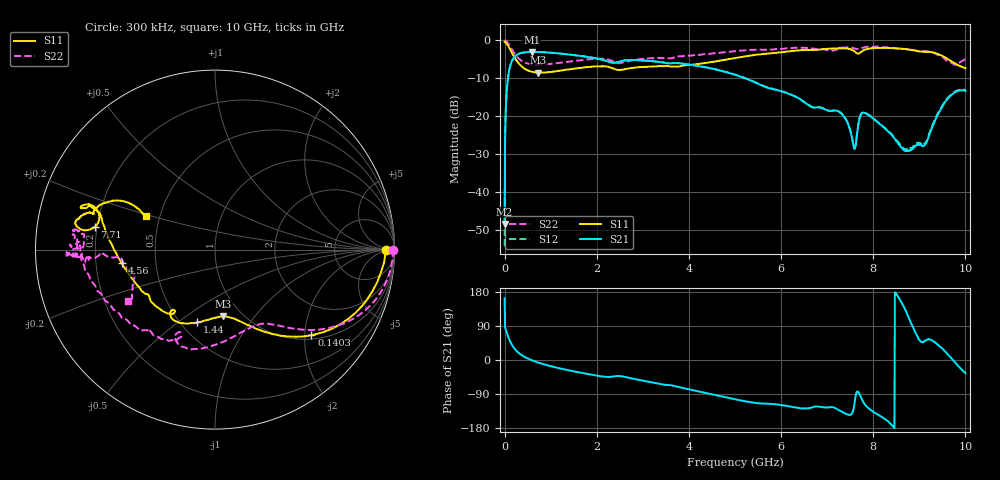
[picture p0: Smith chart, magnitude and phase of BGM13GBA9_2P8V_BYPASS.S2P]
!Agilent Technologies,E5071C,MY46316587,B.13.01
!Date: Wed Dec 06 12:11:16 2017
!Data & Calibration Information:
!Freq	S11:SOLT2(ON)	S21:SOLT2(ON)	S12:SOLT2(ON)	S22:SOLT2(ON)
!PortZ  Port1:50+j0  Port2:50+j0
!Above PortZ is port z conversion or system Z0 setting when saving the data.
!When reading, reference impedance value at option line is always used.
# Hz S RI R 50
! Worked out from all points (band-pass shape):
!   1001 points, 300 kHz to 10 GHz, reference 50 ohm
!   highest |S21| = -3.06 dB at 590.3 MHz (marker M1); lowest = -48.3 dB at 300 kHz (marker M2)
!   |S21| within 3 dB of the highest: 139.5 MHz to 3.53 GHz (3.39 GHz wide, 185 % of centre); 3.615 GHz to 3.798 GHz (183.8 MHz wide, 4.96 % of centre)
!   lowest |S11| = -8.6 dB at 730.3 MHz (marker M3), VSWR 2.19, Z = 41.1 - j35.4 ohm
!   |S11| at or under -10 dB: nowhere
!   |S22| runs from -6.5 to -0.1 dB; largest |S21 - S12| = 0.0067
!   S11 on the Smith chart (normalised r, x): 300 kHz: 40, -1; 140.3 MHz: 1.10, -2.16; 1.44 GHz: 0.60, -0.59; 4.56 GHz: 0.31, -0.07; 7.71 GHz: 0.19, +0.09; 10 GHz: 0.42, +0.19
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300000  0.9517 -0.000636  -0.00367 0.00114  0.000547 0.00188  0.9938 -0.000399
6.02982e7  0.8166 -0.3174  0.1048 0.2476  0.1045 0.2491  0.8954 -0.2776
1.402958e8  0.5373 -0.4763  0.3585 0.3479  0.3588 0.3489  0.6546 -0.4313
3.102907e8  0.2237 -0.4382  0.6304 0.208  0.6305 0.2091  0.3789 -0.429
5.902823e8  0.0804 -0.3774  0.7033 -0.00918  0.7044 -0.00924  0.2409 -0.418
7.302781e8  0.0464 -0.3703  0.6947 -0.0845  0.6963 -0.0847  0.2005 -0.433
1.440257e9  -0.098 -0.4055  0.567 -0.3077  0.5682 -0.3085  0.0121 -0.5274
1.67025e9  -0.1409 -0.4109  0.5146 -0.3473  0.5152 -0.3482  -0.0488 -0.5453
3.3402e9  -0.3274 -0.3163  0.241 -0.4611  0.2407 -0.4618  -0.339 -0.4789
4.560163e9  -0.5188 -0.0768  -0.0148 -0.4159  -0.0145 -0.417  -0.6158 -0.2793
5.00015e9  -0.5829 0.0421  -0.0827 -0.3432  -0.0835 -0.3449  -0.6981 -0.1542
6.6701e9  -0.7023 0.2456  -0.0758 -0.1072  -0.0769 -0.1083  -0.771 0.1201
7.290081e9  -0.749 0.2365  -0.0778 -0.0786  -0.0788 -0.0795  -0.7927 0.000768
7.440077e9  -0.7371 0.2468  -0.0668 -0.0491  -0.0682 -0.0495  -0.8066 0.0278
7.580073e9  -0.6817 0.2441  -0.022 -0.0317  -0.0228 -0.0325  -0.7832 0.0284
7.710069e9  -0.6686 0.1278  -0.00403 -0.0972  -0.00432 -0.0985  -0.7809 -0.029
7.840065e9  -0.7501 0.1143  -0.0555 -0.0942  -0.0562 -0.0952  -0.8134 -0.0199
8.34005e9  -0.7729 0.1629  -0.0594 -0.0171  -0.0609 -0.0174  -0.7985 -0.0286
8.700039e9  -0.7417 0.1894  -0.0234 0.0259  -0.0238 0.0281  -0.7654 -0.0386
9.100027e9  -0.6776 0.2011  0.0271 0.0305  0.0285 0.0313  -0.721 -0.0662
9.580013e9  -0.5197 0.2714  0.1508 0.0544  0.1553 0.0551  -0.5462 -0.0409
1e10  -0.3858 0.1862  0.1783 -0.1217  0.1821 -0.1253  -0.4864 -0.2878
